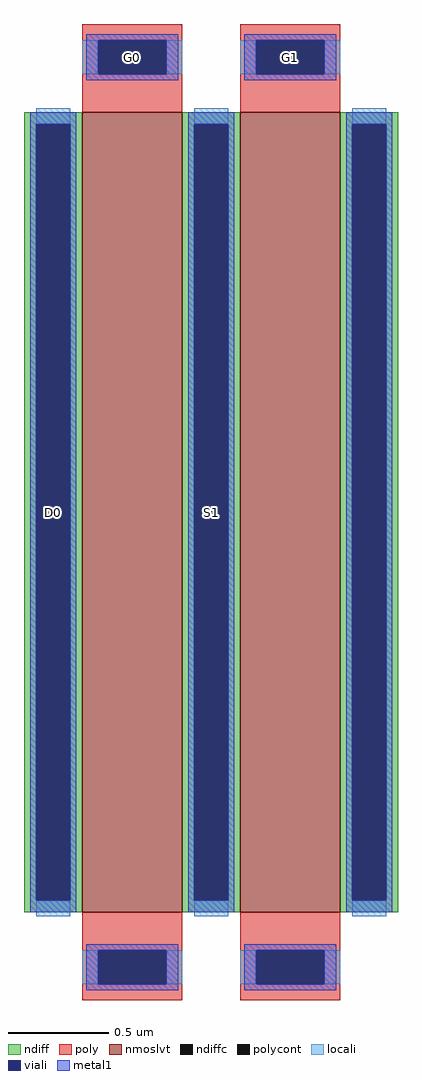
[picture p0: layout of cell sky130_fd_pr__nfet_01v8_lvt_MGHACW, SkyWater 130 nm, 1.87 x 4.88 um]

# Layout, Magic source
magic
tech sky130A
magscale 1 2
<< nmoslvt >>
rect -129 -400 -29 400
rect 29 -400 129 400
<< ndiff >>
rect -187 388 -129 400
rect -187 -388 -175 388
rect -141 -388 -129 388
rect -187 -400 -129 -388
rect -29 388 29 400
rect -29 -388 -17 388
rect 17 -388 29 388
rect -29 -400 29 -388
rect 129 388 187 400
rect 129 -388 141 388
rect 175 -388 187 388
rect 129 -400 187 -388
<< ndiffc >>
rect -175 -388 -141 388
rect -17 -388 17 388
rect 141 -388 175 388
<< poly >>
rect -129 472 -29 488
rect -129 438 -113 472
rect -45 438 -29 472
rect -129 400 -29 438
rect 29 472 129 488
rect 29 438 45 472
rect 113 438 129 472
rect 29 400 129 438
rect -129 -438 -29 -400
rect -129 -472 -113 -438
rect -45 -472 -29 -438
rect -129 -488 -29 -472
rect 29 -438 129 -400
rect 29 -472 45 -438
rect 113 -472 129 -438
rect 29 -488 129 -472
<< polycont >>
rect -113 438 -45 472
rect 45 438 113 472
rect -113 -472 -45 -438
rect 45 -472 113 -438
<< locali >>
rect -129 438 -113 472
rect -45 438 -29 472
rect 29 438 45 472
rect 113 438 129 472
rect -175 388 -141 404
rect -175 -404 -141 -388
rect -17 388 17 404
rect -17 -404 17 -388
rect 141 388 175 404
rect 141 -404 175 -388
rect -129 -472 -113 -438
rect -45 -472 -29 -438
rect 29 -472 45 -438
rect 113 -472 129 -438
<< viali >>
rect -113 438 -45 472
rect 45 438 113 472
rect -175 -388 -141 388
rect -17 -388 17 388
rect 141 -388 175 388
rect -113 -472 -45 -438
rect 45 -472 113 -438
<< metal1 >>
rect -125 472 -33 478
rect -125 438 -113 472
rect -45 438 -33 472
rect -125 432 -33 438
rect 33 472 125 478
rect 33 438 45 472
rect 113 438 125 472
rect 33 432 125 438
rect -181 388 -135 400
rect -181 -388 -175 388
rect -141 -388 -135 388
rect -181 -400 -135 -388
rect -23 388 23 400
rect -23 -388 -17 388
rect 17 -388 23 388
rect -23 -400 23 -388
rect 135 388 181 400
rect 135 -388 141 388
rect 175 -388 181 388
rect 135 -400 181 -388
rect -125 -438 -33 -432
rect -125 -472 -113 -438
rect -45 -472 -33 -438
rect -125 -478 -33 -472
rect 33 -438 125 -432
rect 33 -472 45 -438
rect 113 -472 125 -438
rect 33 -478 125 -472
<< labels >>
rlabel ndiffc -158 0 -158 0 0 D0
port 1 nsew
rlabel polycont -79 455 -79 455 0 G0
port 2 nsew
rlabel ndiffc 0 0 0 0 0 S1
port 3 nsew
rlabel polycont 79 455 79 455 0 G1
port 4 nsew
<< properties >>
string gencell sky130_fd_pr__nfet_01v8_lvt
string library sky130
string parameters w 4 l 0.5 m 1 nf 2 diffcov 100 polycov 100 guard 0 glc 1 grc 1 gtc 1 gbc 1 tbcov 100 rlcov 100 topc 1 botc 1 poverlap 0 doverlap 1 lmin 0.15 wmin 0.42 class mosfet compatible {sky130_fd_pr__nfet_01v8 sky130_fd_pr__nfet_01v8_lvt  sky130_fd_bs_flash__special_sonosfet_star  sky130_fd_pr__nfet_g5v0d10v5 sky130_fd_pr__nfet_05v0_nvt  sky130_fd_pr__nfet_03v3_nvt} full_metal 1 conn_gates 0 viasrc 100 viadrn 100 viagate 100 viagb 0 viagr 0 viagl 0 viagt 0 doports 1
<< end >>
